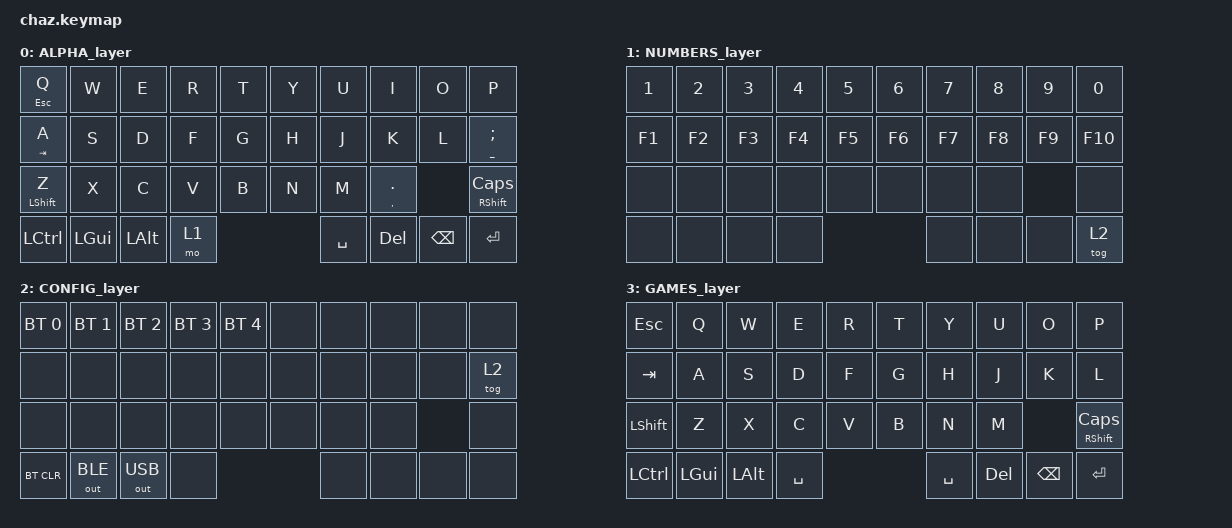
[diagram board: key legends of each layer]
/*
 * Copyright (c) 2023 The ZMK Contributors
 *
 * SPDX-License-Identifier: MIT
 */

#include <behaviors.dtsi>
#include <dt-bindings/zmk/keys.h>
#include <dt-bindings/zmk/bt.h>
#include <dt-bindings/zmk/outputs.h>

#define ALPHA       0
#define NUMBERS     1
#define CONFIG      2
#define GAMES       3

&mt {
    flavor = "tap-preferred";
    tapping_term_ms = <200>;
};

&lt {
    tapping_term_ms = <150>;
};

/ {
 combos {
        compatible = "zmk,combos";
        combo_esc {
            timeout-ms = <50>;
            key-positions = <0 9>;
            bindings = <&tog 3>;
        };
    };
};

/ {
    keymap {
        compatible = "zmk,keymap";

        ALPHA_layer {
            bindings = <
                &mt ESC Q     &kp W     &kp E     &kp R     &kp T     &kp Y     &kp U     &kp I     &kp O     &kp P
                &mt TAB A     &kp S     &kp D     &kp F     &kp G     &kp H     &kp J     &kp K     &kp L     &mt UNDERSCORE SEMICOLON
                &mt LSHIFT Z     &kp X     &kp C     &kp V     &kp B     &kp N     &kp M     &mt COMMA DOT     &mt RSHFT CAPS
                &kp LCTRL     &kp LGUI     &kp LALT     &mo 1     &kp SPACE     &kp DELETE    &kp BACKSPACE     &kp ENTER
            >;
        };
        NUMBERS_layer {
            bindings = <
                &kp N1      &kp N2      &kp N3      &kp N4      &kp N5      &kp N6       &kp N7     &kp N8      &kp N9     &kp N0
                &kp F1      &kp F2      &kp F3      &kp F4      &kp F5      &kp F6       &kp F7     &kp F8      &kp F9     &kp F10
                &none       &none       &none       &none       &none       &none        &none      &none       &none
                &none       &none       &none       &none       &none       &none        &none      &tog 2 
            >;
        };
        CONFIG_layer {
            bindings = <
                &bt BT_SEL 0    &bt BT_SEL 1       &bt BT_SEL 2       &bt BT_SEL 3       &bt BT_SEL 4       &none        &none      &none       &none   &none
                &none       &none       &none       &none       &none       &none        &none      &none       &none   &tog 2
                &none       &none       &none       &none       &none       &none        &none      &none       &none
                &bt BT_CLR       &out OUT_BLE       &out OUT_USB       &none       &none       &none        &none      &none 
            >;
        };  
        GAMES_layer {
            bindings = <
                &kp ESC     &kp Q       &kp W      &kp E       &kp R       &kp T       &kp Y       &kp U     &kp O     &kp P
                &kp TAB     &kp A       &kp S      &kp D       &kp F       &kp G       &kp H       &kp J     &kp K     &kp L
                &kp LSHIFT  &kp Z       &kp X      &kp C       &kp V       &kp B       &kp N       &kp M     &mt RSHFT CAPS
                &kp LCTRL   &kp LGUI     &kp LALT   &kp SPACE      &kp SPACE        &kp DELETE    &kp BACKSPACE     &kp ENTER
            >;
        };              
    };
};
